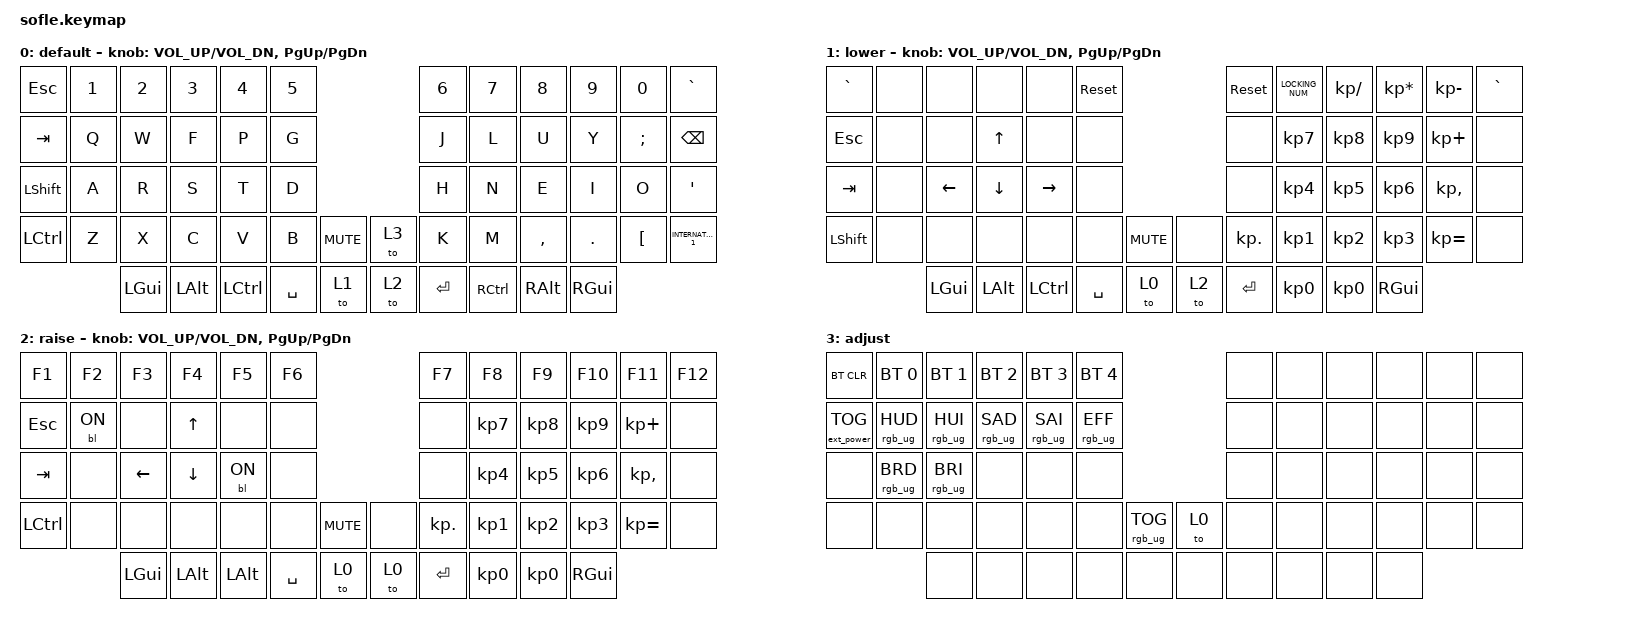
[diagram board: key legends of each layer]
/*
 * Copyright (c) 2020 The ZMK Contributors
 *
 * SPDX-License-Identifier: MIT
 */

#include <behaviors.dtsi>
#include <dt-bindings/zmk/backlight.h>
#include <dt-bindings/zmk/bt.h>
#include <dt-bindings/zmk/ext_power.h>
#include <dt-bindings/zmk/keys.h>
#include <dt-bindings/zmk/rgb.h>

#define BASE 0
#define LOWER 1
#define RAISE 2
#define ADJUST 3

/ {
    // Activate ADJUST layer by pressing raise and lower

    conditional_layers {
        compatible = "zmk,conditional-layers";

        adjust_layer {
            if-layers = <1 3>;
            then-layer = <3>;
        };
    };

    keymap {
        compatible = "zmk,keymap";

        default_layer {
            display-name = "default";

            // ------------------------------------------------------------------------------------------------------------
            // |   `   |  1  |  2  |  3   |  4   |  5   |                   |  6   |  7    |  8    |  9   |   0   |       |
            // |  ESC  |  Q  |  W  |  E   |  R   |  T   |                   |  Y   |  U    |  I    |  O   |   P   | BKSPC |
            // |  TAB  |  A  |  S  |  D   |  F   |  G   |                   |  H   |  J    |  K    |  L   |   ;   |   '   |
            // | SHIFT |  Z  |  X  |  C   |  V   |  B   |  MUTE  |  |       |  N   |  M    |  ,    |  .   |   /   | SHIFT |
            //               | GUI | ALT  | CTRL | LOWER|  ENTER |  | SPACE | RAISE| CTRL  | ALT   | GUI  |

            bindings = <
&kp ESCAPE        &kp N1  &kp N2        &kp N3        &kp N4            &kp N5                          &kp N6     &kp N7             &kp N8         &kp N9         &kp N0            &kp GRAVE
&kp TAB           &kp Q   &kp W         &kp F         &kp P             &kp G                           &kp J      &kp L              &kp U          &kp Y          &kp SEMICOLON     &kp BACKSPACE
&kp LEFT_SHIFT    &kp A   &kp R         &kp S         &kp T             &kp D                           &kp H      &kp N              &kp E          &kp I          &kp O             &kp SINGLE_QUOTE
&kp LEFT_CONTROL  &kp Z   &kp X         &kp C         &kp V             &kp B      &kp C_MUTE    &to 3  &kp K      &kp M              &kp COMMA      &kp DOT        &kp LEFT_BRACKET  &kp INTERNATIONAL_1
                          &kp LEFT_GUI  &kp LEFT_ALT  &kp LEFT_CONTROL  &kp SPACE  &to 1         &to 2  &kp ENTER  &kp RIGHT_CONTROL  &kp RIGHT_ALT  &kp RIGHT_GUI
            >;

            sensor-bindings = <&inc_dec_kp C_VOL_UP C_VOL_DN &inc_dec_kp PG_UP PG_DN>;
        };

        lower_layer {
            display-name = "lower";

            // TODO: Some binds are waiting for shifted keycode support.
            // ------------------------------------------------------------------------------------------------------------
            // |       |  F1 |  F2 |  F3  |  F4  |  F5  |                   |  F6  |  F7   |  F8   |  F9  |  F10  |  F11  |
            // |   `   |  1  |  2  |  3   |  4   |  5   |                   |  6   |  7    |  8    |  9   |   0   |  F12  |
            // |       |  !  |  @  |  #   |  $   |  %   |                   |  ^   |  &    |  *    |  (   |   )   |   |   |
            // |       |  =  |  -  |  +   |  {   |  }   |        |  |       |  [   |  ]    |  ;    |  :   |   \   |       |
            //               |     |      |      |      |        |  |       |      |       |       |      |

            bindings = <
&kp GRAVE       &none  &none         &none         &none             &sys_reset                       &sys_reset  &kp LOCKING_NUM  &kp KP_SLASH  &kp KP_ASTERISK  &kp KP_MINUS  &kp GRAVE
&kp ESCAPE      &none  &none         &kp UP        &none             &none                            &none       &kp KP_N7        &kp KP_N8     &kp KP_N9        &kp KP_PLUS   &none
&kp TAB         &none  &kp LEFT      &kp DOWN      &kp RIGHT         &none                            &none       &kp KP_N4        &kp KP_N5     &kp KP_N6        &kp KP_COMMA  &none
&kp LEFT_SHIFT  &none  &none         &none         &none             &none       &kp C_MUTE    &none  &kp KP_DOT  &kp KP_N1        &kp KP_N2     &kp KP_N3        &kp KP_EQUAL  &none
                       &kp LEFT_GUI  &kp LEFT_ALT  &kp LEFT_CONTROL  &kp SPACE   &to 0         &to 2  &kp ENTER   &kp KP_N0        &kp KP_N0     &kp RIGHT_GUI
            >;

            sensor-bindings = <&inc_dec_kp C_VOL_UP C_VOL_DN &inc_dec_kp PG_UP PG_DN>;
        };

        raise_layer {
            display-name = "raise";
            bindings = <
&kp F1      &kp F2     &kp F3        &kp F4        &kp F5     &kp F6                          &kp F7      &kp F8     &kp F9     &kp F10        &kp F11       &kp F12
&kp ESCAPE  &bl BL_ON  &none         &kp UP        &none      &none                           &none       &kp KP_N7  &kp KP_N8  &kp KP_N9      &kp KP_PLUS   &none
&kp TAB     &none      &kp LEFT      &kp DOWN      &bl BL_ON  &none                           &none       &kp KP_N4  &kp KP_N5  &kp KP_N6      &kp KP_COMMA  &none
&kp LCTRL   &none      &none         &none         &none      &none      &kp C_MUTE    &none  &kp KP_DOT  &kp KP_N1  &kp KP_N2  &kp KP_N3      &kp KP_EQUAL  &none
                       &kp LEFT_GUI  &kp LEFT_ALT  &kp LALT   &kp SPACE  &to 0         &to 0  &kp ENTER   &kp KP_N0  &kp KP_N0  &kp RIGHT_GUI
            >;

            sensor-bindings =
                <&inc_dec_kp C_VOL_UP C_VOL_DN>,
                <&inc_dec_kp PG_UP PG_DN>;
        };

        adjust_layer {
            // ----------------------------------------------------------------------------------------------------------------------------
            // | BTCLR  |  BT1    |  BT2    |   BT3   |   BT4   |   BT5   |                  |      |      |       |      |       |       |
            // | EXTPWR | RGB_HUD | RGB_HUI | RGB_SAD | RGB_SAI | RGB_EFF |                  |      |      |       |      |       |       |
            // |        | RGB_BRD | RGB_BRI |         |         |         |                  |      |      |       |      |       |       |
            // |        |         |         |         |         |         | RGB_TOG | |      |      |      |       |      |       |       |
            //                    |         |         |         |         |         | |      |      |      |       |      |

            display-name = "adjust";
            bindings = <
&bt BT_CLR         &bt BT_SEL 0     &bt BT_SEL 1     &bt BT_SEL 2     &bt BT_SEL 3     &bt BT_SEL 4                               &none  &none  &none  &none  &none  &none
&ext_power EP_TOG  &rgb_ug RGB_HUD  &rgb_ug RGB_HUI  &rgb_ug RGB_SAD  &rgb_ug RGB_SAI  &rgb_ug RGB_EFF                            &none  &none  &none  &none  &none  &none
&none              &rgb_ug RGB_BRD  &rgb_ug RGB_BRI  &none            &none            &none                                      &none  &none  &none  &none  &none  &none
&none              &none            &none            &none            &none            &none            &rgb_ug RGB_TOG    &to 0  &none  &none  &none  &none  &none  &none
                                    &none            &none            &none            &none            &none              &none  &none  &none  &none  &none
            >;
        };
    };
};
